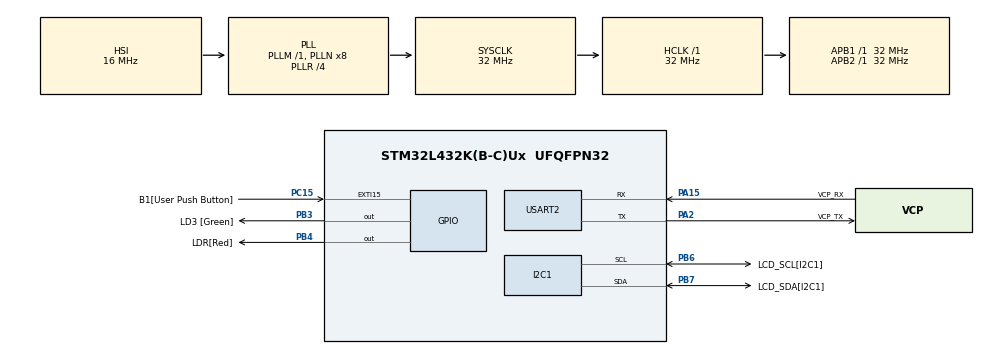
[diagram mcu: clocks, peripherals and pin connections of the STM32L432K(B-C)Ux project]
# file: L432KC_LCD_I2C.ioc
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I2C1.Timing=0x00707CBB
Mcu.Family=STM32L4
Mcu.Name=STM32L432K(B-C)Ux
Mcu.Package=UFQFPN32
NVIC.PriorityGroup=NVIC_PRIORITYGROUP_4
PA13\ (JTMS-SWDIO).GPIO_Label=SWDIO
PA13\ (JTMS-SWDIO).Mode=Serial_Wire
PA13\ (JTMS-SWDIO).Signal=SYS_JTMS-SWDIO
PA14\ (JTCK-SWCLK).GPIO_Label=SWCLK
PA14\ (JTCK-SWCLK).Mode=Serial_Wire
PA14\ (JTCK-SWCLK).Signal=SYS_JTCK-SWCLK
PA15\ (JTDI).GPIO_Label=VCP_RX
PA15\ (JTDI).Mode=Asynchronous
PA15\ (JTDI).Signal=USART2_RX
PA2.GPIO_Label=VCP_TX
PA2.Mode=Asynchronous
PA2.Signal=USART2_TX
PB3\ (JTDO-TRACESWO).GPIO_Label=LD3 [Green]
PB3\ (JTDO-TRACESWO).Signal=GPIO_Output
PB4\ (NJTRST).GPIO_Label=LDR[Red]
PB4\ (NJTRST).Signal=GPIO_Output
PB6.GPIO_Label=LCD_SCL[I2C1]
PB6.GPIO_Pu=GPIO_PULLUP
PB6.Mode=I2C
PB6.Signal=I2C1_SCL
PB7.GPIO_Label=LCD_SDA[I2C1]
PB7.GPIO_Pu=GPIO_PULLUP
PB7.Mode=I2C
PB7.Signal=I2C1_SDA
PC15-OSC32_OUT\ (PC15).GPIO_Label=B1[User Push Button]
PC15-OSC32_OUT\ (PC15).Signal=GPXTI15
ProjectManager.HeapSize=0x200
ProjectManager.StackSize=0x400
ProjectManager.TargetToolchain=STM32CubeIDE
RCC.ADCFreq_Value=64000000
RCC.AHBFreq_Value=32000000
RCC.APB1Freq_Value=32000000
RCC.APB1TimFreq_Value=32000000
RCC.APB2Freq_Value=32000000
RCC.APB2TimFreq_Value=32000000
RCC.CortexFreq_Value=32000000
RCC.HCLKFreq_Value=32000000
RCC.HSE_VALUE=8000000
RCC.HSI16_VALUE=16000000
RCC.HSI48_VALUE=48000000
RCC.HSI_VALUE=16000000
RCC.LSE_VALUE=32768
RCC.MSI_VALUE=4000000
RCC.PLLMUL=RCC_PLLMUL_4
RCC.PLLR=RCC_PLLR_DIV4
RCC.PLLSourceVirtual=RCC_PLLSOURCE_HSI
RCC.SYSCLKFreq_VALUE=32000000
RCC.SYSCLKSource=RCC_SYSCLKSOURCE_PLLCLK
RCC.USBFreq_Value=64000000
RCC.VCOOutputFreq_Value=128000000
USART2.SwapParam=ADVFEATURE_SWAP_ENABLE
USART2.VirtualMode-Asynchronous=VM_ASYNC
board=NUCLEO-L432KC

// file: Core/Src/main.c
/* USER CODE BEGIN Header */
/**
 ******************************************************************************
 * @file           : main.c
 * @brief          : Main program body
 ******************************************************************************
 * @attention
 *
 * Copyright (c) 2025 STMicroelectronics.
 * All rights reserved.
 *
 * This software is licensed under terms that can be found in the LICENSE file
 * in the root directory of this software component.
 * If no LICENSE file comes with this software, it is provided AS-IS.
 *
 ******************************************************************************
 */
/* USER CODE END Header */
#include "main.h"
#include "i2c.h"
#include "usart.h"
#include "gpio.h"

/* USER CODE BEGIN Includes */
#include "LCD_I2C.h"
/* USER CODE END Includes */

void SystemClock_Config(void);

int main(void)
{

  /* MCU Configuration--------------------------------------------------------*/

  /* Reset of all peripherals, Initializes the Flash interface and the Systick. */
  HAL_Init();

  /* Configure the system clock */
  SystemClock_Config();

  /* Initialize all configured peripherals */
  MX_GPIO_Init();
  MX_USART2_UART_Init();
  MX_I2C1_Init();
  /* USER CODE BEGIN 2 */
	// Initialize LCD
	LCD_Init(LCD_ADDR); // Remplacez 0x27 par l'adresse I2C de votre module LCD

	// Scan I2C bus
	I2C_Scan();

	// Display "Hello, World!" at position (0, 0)
	LCD_Clear(LCD_ADDR);
	LCD_SetCursor(0, 0, LCD_ADDR);
	LCD_SendString(LCD_ADDR, "Hello, World!");
	HAL_Delay(2000); // Attendre 2 secondes

	// Display "LCD Library" at position (1, 0)
	LCD_SetCursor(1, 0, LCD_ADDR);
	LCD_SendString(LCD_ADDR, "LCD Library");

	HAL_Delay(2000); // Attendre 2 secondes

	// Shift display to the right
	LCD_DisplayShift(LCD_ADDR, LCD_SHIFT_RIGHT);

	HAL_Delay(2000); // Attendre 2 secondes

	// Shift display to the left
	LCD_DisplayShift(LCD_ADDR, LCD_SHIFT_LEFT);

	HAL_Delay(2000); // Attendre 2 secondes

	// Turn off backlight
	LCD_BacklightOff(LCD_ADDR);

	HAL_Delay(2000); // Attendre 2 secondes

	// Turn on backlight
	LCD_BacklightOn(LCD_ADDR);

	HAL_Delay(2000); // Attendre 2 secondes

	// Return cursor home
	LCD_ReturnHome(LCD_ADDR);

	HAL_Delay(2000); // Attendre 2 secondes

  /* USER CODE END 2 */

  /* Infinite loop */
  /* USER CODE BEGIN WHILE */
	while (1)
	{
		HAL_GPIO_TogglePin(LD3_GPIO_Port, LD3_Pin);
		HAL_Delay(300);
    /* USER CODE END WHILE */

	}
}

void SystemClock_Config(void)
{
  RCC_OscInitTypeDef RCC_OscInitStruct = {0};
  RCC_ClkInitTypeDef RCC_ClkInitStruct = {0};

  /** Configure the main internal regulator output voltage
  */
  if (HAL_PWREx_ControlVoltageScaling(PWR_REGULATOR_VOLTAGE_SCALE1) != HAL_OK)
  {
    Error_Handler();
  }

  /** Initializes the RCC Oscillators according to the specified parameters
  * in the RCC_OscInitTypeDef structure.
  */
  RCC_OscInitStruct.OscillatorType = RCC_OSCILLATORTYPE_HSI;
  RCC_OscInitStruct.HSIState = RCC_HSI_ON;
  RCC_OscInitStruct.HSICalibrationValue = RCC_HSICALIBRATION_DEFAULT;
  RCC_OscInitStruct.PLL.PLLState = RCC_PLL_ON;
  RCC_OscInitStruct.PLL.PLLSource = RCC_PLLSOURCE_HSI;
  RCC_OscInitStruct.PLL.PLLM = 1;
  RCC_OscInitStruct.PLL.PLLN = 8;
  RCC_OscInitStruct.PLL.PLLP = RCC_PLLP_DIV7;
  RCC_OscInitStruct.PLL.PLLQ = RCC_PLLQ_DIV2;
  RCC_OscInitStruct.PLL.PLLR = RCC_PLLR_DIV4;
  if (HAL_RCC_OscConfig(&RCC_OscInitStruct) != HAL_OK)
  {
    Error_Handler();
  }

  /** Initializes the CPU, AHB and APB buses clocks
  */
  RCC_ClkInitStruct.ClockType = RCC_CLOCKTYPE_HCLK|RCC_CLOCKTYPE_SYSCLK
                              |RCC_CLOCKTYPE_PCLK1|RCC_CLOCKTYPE_PCLK2;
  RCC_ClkInitStruct.SYSCLKSource = RCC_SYSCLKSOURCE_PLLCLK;
  RCC_ClkInitStruct.AHBCLKDivider = RCC_SYSCLK_DIV1;
  RCC_ClkInitStruct.APB1CLKDivider = RCC_HCLK_DIV1;
  RCC_ClkInitStruct.APB2CLKDivider = RCC_HCLK_DIV1;

  if (HAL_RCC_ClockConfig(&RCC_ClkInitStruct, FLASH_LATENCY_1) != HAL_OK)
  {
    Error_Handler();
  }
}

void Error_Handler(void)
{
	__disable_irq();
	while (1)
	{
	}
}
